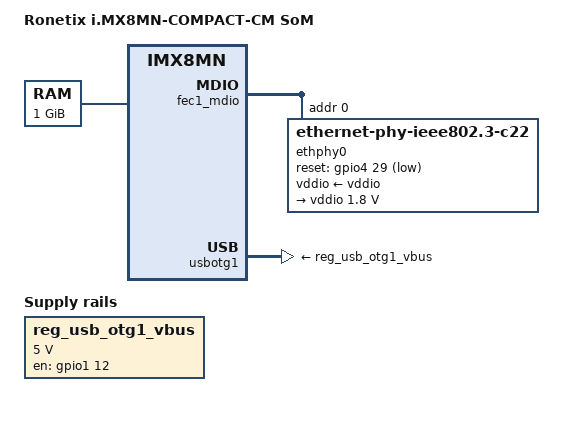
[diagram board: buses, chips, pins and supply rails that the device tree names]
// SPDX-License-Identifier: (GPL-2.0+ OR MIT)
/*
 * Copyright 2021-2026 Ronetix GmbH
 */

/dts-v1/;

#include <dt-bindings/usb/pd.h>
#include "imx8mn.dtsi"
#include "imx8mn-ronetix.dtsi"

/ {
	model = "Ronetix i.MX8MN-COMPACT-CM SoM";
	compatible = "ronetix,imx8mn-compact-cm", "fsl,imx8mn";

	memory@40000000 {
		device_type = "memory";
		reg = <0x0 0x40000000 0 0x40000000>;
	};

	reserved-memory {
		#address-cells = <2>;
		#size-cells = <2>;
		ranges;

		/* global autoconfigured region for contiguous allocations */
		linux,cma {
			compatible = "shared-dma-pool";
			reusable;
			size = <0 0x04000000>;	/* 64 MiB */
			alloc-ranges = <0 0x40000000 0 0x40000000>;
			linux,cma-default;
		};
	};

	reg_usb_otg1_vbus: regulator-usb-otg1-vbus {
		compatible = "regulator-fixed";
		pinctrl-names = "default";
		pinctrl-0 = <&pinctrl_usb_otg1_vbus_reg>;
		regulator-name = "usb_otg1_vbus";
		regulator-min-microvolt = <5000000>;
		regulator-max-microvolt = <5000000>;
		gpio = <&gpio1 12 GPIO_ACTIVE_HIGH>;
		enable-active-high;
	};
};

&fec1_mdio {
	/* AR8031 */
	ethphy0: ethernet-phy@0 {
		compatible = "ethernet-phy-ieee802.3-c22";
		reg = <0>;
		reset-gpios = <&gpio4 29 GPIO_ACTIVE_LOW>;
		reset-assert-us = <10000>;
		reset-deassert-us = <50000>;
		qca,disable-smarteee;
		eee-broken-100tx;
		eee-broken-1000t;
		vddio-supply = <&vddio>;

		vddio: vddio-regulator {
			regulator-min-microvolt = <1800000>;
			regulator-max-microvolt = <1800000>;
		};
	};
};

&usbotg1 {
	vbus-supply = <&reg_usb_otg1_vbus>;
	status = "okay";
};

&iomuxc {
	pinctrl_usb_otg1_vbus_reg: usbotg1vbusreggrp {
		fsl,pins = <
			MX8MN_IOMUXC_GPIO1_IO12_GPIO1_IO12		0x19
		>;
	};
};
